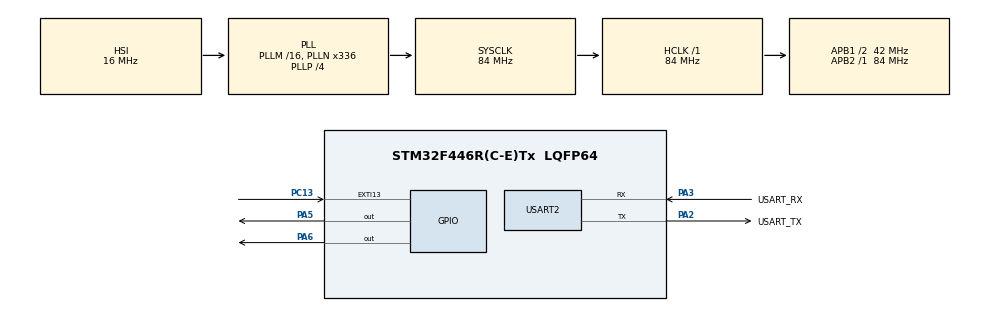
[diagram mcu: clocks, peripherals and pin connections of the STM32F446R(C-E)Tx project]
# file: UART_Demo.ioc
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Mcu.Family=STM32F4
Mcu.Name=STM32F446R(C-E)Tx
Mcu.Package=LQFP64
NUCLEO-F446RE.BUTTON=1
NUCLEO-F446RE.Bsp_Common_DEMO=true
NUCLEO-F446RE.LD1=true
NVIC.EXTI15_10_IRQn=true\:0\:0\:false\:false\:true\:false\:true\:true
NVIC.PriorityGroup=NVIC_PRIORITYGROUP_0
NVIC.USART2_IRQn=true\:0\:0\:false\:false\:true\:true\:true\:true
PA13.GPIO_Label=TMS
PA13.Signal=SYS_JTMS-SWDIO
PA14.GPIO_Label=TCK
PA14.Signal=SYS_JTCK-SWCLK
PA2.GPIO_Label=USART_TX
PA2.Mode=Asynchronous
PA2.Signal=USART2_TX
PA3.GPIO_Label=USART_RX
PA3.Mode=Asynchronous
PA3.Signal=USART2_RX
PA5.Signal=GPIO_Output
PA6.Signal=GPIO_Output
PB3.GPIO_Label=SWO
PB3.Signal=SYS_JTDO-SWO
PC13.Signal=GPXTI13
PC14-OSC32_IN.Signal=RCC_OSC32_IN
PC15-OSC32_OUT.Signal=RCC_OSC32_OUT
PH0-OSC_IN.Signal=RCC_OSC_IN
PH1-OSC_OUT.Signal=RCC_OSC_OUT
ProjectManager.HeapSize=0x200
ProjectManager.StackSize=0x400
ProjectManager.TargetToolchain=CMake
RCC.AHBFreq_Value=84000000
RCC.APB1CLKDivider=RCC_HCLK_DIV2
RCC.APB1Freq_Value=42000000
RCC.APB1TimFreq_Value=84000000
RCC.APB2Freq_Value=84000000
RCC.APB2TimFreq_Value=84000000
RCC.CortexFreq_Value=84000000
RCC.FLatency-AdvancedSettings=FLASH_LATENCY_2
RCC.HCLKFreq_Value=84000000
RCC.HSE_VALUE=8000000
RCC.HSI_VALUE=16000000
RCC.LSE_VALUE=32768
RCC.PLLN=336
RCC.PLLP=RCC_PLLP_DIV4
RCC.SYSCLKFreq_VALUE=84000000
RCC.SYSCLKSource=RCC_SYSCLKSOURCE_PLLCLK
RCC.USBFreq_Value=168000000
RCC.VCOOutputFreq_Value=336000000
USART2.VirtualMode=VM_ASYNC
VP_NUCLEO-F446RE_VS_BSP_COMMON.Mode=COMMON
board=NUCLEO-F446RE

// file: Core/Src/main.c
/* USER CODE BEGIN Header */
/**
  ******************************************************************************
  * @file           : main.c
  * @brief          : Main program body
  ******************************************************************************
  * @attention
  *
  * Copyright (c) 2026 STMicroelectronics.
  * All rights reserved.
  *
  * This software is licensed under terms that can be found in the LICENSE file
  * in the root directory of this software component.
  * If no LICENSE file comes with this software, it is provided AS-IS.
  *
  ******************************************************************************
  */
/* USER CODE END Header */
#include "main.h"

/* USER CODE BEGIN Includes */
#include <stdint.h>
#include <stdio.h>
#include <stdbool.h>
#include <string.h>
#include <sys/_intsup.h>
#include "stm32f446xx.h"
#include "stm32f4xx_hal_gpio.h"
#include "stm32f4xx_hal_uart.h"
#include "uart.h"

/* USER CODE END Includes */

/* Button state */
#define BUTTON_RELEASED                    0U
#define BUTTON_PRESSED                     1U

__IO uint32_t BspButtonState = BUTTON_RELEASED;
UART_HandleTypeDef huart2;

void SystemClock_Config(void);
static void MX_GPIO_Init(void);
static void MX_USART2_UART_Init(void);

/* USER CODE BEGIN 0 */
  #define COMMAND_SIZE 100
  static uint8_t received_byte;
  static char command_buffer[COMMAND_SIZE];
  static volatile uint8_t command_index = 0;
  static volatile bool command_ready = false;
/* USER CODE END 0 */

int main(void)
{

  /* MCU Configuration--------------------------------------------------------*/

  /* Reset of all peripherals, Initializes the Flash interface and the Systick. */
  HAL_Init();

  /* Configure the system clock */
  SystemClock_Config();

  /* Initialize all configured peripherals */
  MX_GPIO_Init();
  MX_USART2_UART_Init();
  /* USER CODE BEGIN 2 */
  //uart_t uart2;
  //uart_init(&uart2, &huart2, 1000); // Initialize UART
  char message[] = "UART ready\r\n";
  HAL_UART_Transmit(
      &huart2,
      (uint8_t *)message,
      sizeof(message) - 1,
      100
  );

  if (HAL_UART_Receive_IT(&huart2, &received_byte, 1) != HAL_OK)
  {
      Error_Handler();
  }
  /* USER CODE END 2 */

  /* Initialize leds */
  BSP_LED_Init(LED2);

  /* Initialize USER push-button, will be used to trigger an interrupt each time it's pressed.*/
  BSP_PB_Init(BUTTON_USER, BUTTON_MODE_EXTI);

  /* USER CODE BEGIN BSP */

  /* -- Sample board code to switch on leds ---- */
  BSP_LED_On(LED2);

  /* USER CODE END BSP */

  /* Infinite loop */
  while (1)
  {

    /* USER CODE BEGIN 3 */

    /*HAL_StatusTypeDef status;
    //status = uart_receive_byte(&uart2, &received_byte); // Receive a byte over UART
    if (status == HAL_OK) {
        if (received_byte == '0') { // Check if a byte was received
            HAL_GPIO_WritePin(GPIOA, GPIO_PIN_6, GPIO_PIN_RESET); // Turn off the LED if 0 was received
            uart_send_string(&uart2, "LED OFF\r\n"); // Send a message over UART
        }
        else if (received_byte == '1') { // Check if a byte was received
        HAL_GPIO_WritePin(GPIOA, GPIO_PIN_6, GPIO_PIN_SET); // Turn on the LED if 1 was received
        uart_send_string(&uart2, "LED ON\r\n"); // Send a message over UART
      }
    }
    else if (status == HAL_TIMEOUT)
    {
    // No data arrived. Do nothing.
    }
    else{
      uart_send_string(&uart2, "Error receiving byte\r\n"); // Send an error message over UART
    }*/

    if(command_ready){
      if(strcmp(command_buffer, "led on") == 0){
        HAL_GPIO_WritePin(GPIOA, GPIO_PIN_6, GPIO_PIN_SET);
      }
      else if(strcmp(command_buffer, "led off") == 0){
        HAL_GPIO_WritePin(GPIOA, GPIO_PIN_6, GPIO_PIN_RESET);
      }
      else if(strcmp(command_buffer, "status") == 0){
        GPIO_PinState state = HAL_GPIO_ReadPin(GPIOA, GPIO_PIN_6);
        if (state == GPIO_PIN_RESET){
          HAL_UART_Transmit(&huart2, (uint8_t*)"LED OFF\r\n", strlen("LED OFF"), 100);
        }
        else{
          HAL_UART_Transmit(&huart2, (uint8_t*)"LED ON\r\n", strlen("LED ON"), 100);
        }
      }
      else if(strcmp(command_buffer, "help") == 0){
        HAL_UART_Transmit(&huart2, (uint8_t*)"-LED ON\r\n", strlen("-LED ON"), 100);
        HAL_UART_Transmit(&huart2, (uint8_t*)"-LED OFF\r\n", strlen("-LED OFF"), 100);
        HAL_UART_Transmit(&huart2, (uint8_t*)"-STATUS\r\n", strlen("-STATUS"), 100);
      }

      command_index = 0;
      command_ready = false;
    }

  }

  /* USER CODE END 3 */
}

void SystemClock_Config(void)
{
  RCC_OscInitTypeDef RCC_OscInitStruct = {0};
  RCC_ClkInitTypeDef RCC_ClkInitStruct = {0};

  /** Configure the main internal regulator output voltage
  */
  __HAL_RCC_PWR_CLK_ENABLE();
  __HAL_PWR_VOLTAGESCALING_CONFIG(PWR_REGULATOR_VOLTAGE_SCALE3);

  /** Initializes the RCC Oscillators according to the specified parameters
  * in the RCC_OscInitTypeDef structure.
  */
  RCC_OscInitStruct.OscillatorType = RCC_OSCILLATORTYPE_HSI;
  RCC_OscInitStruct.HSIState = RCC_HSI_ON;
  RCC_OscInitStruct.HSICalibrationValue = RCC_HSICALIBRATION_DEFAULT;
  RCC_OscInitStruct.PLL.PLLState = RCC_PLL_ON;
  RCC_OscInitStruct.PLL.PLLSource = RCC_PLLSOURCE_HSI;
  RCC_OscInitStruct.PLL.PLLM = 16;
  RCC_OscInitStruct.PLL.PLLN = 336;
  RCC_OscInitStruct.PLL.PLLP = RCC_PLLP_DIV4;
  RCC_OscInitStruct.PLL.PLLQ = 2;
  RCC_OscInitStruct.PLL.PLLR = 2;
  if (HAL_RCC_OscConfig(&RCC_OscInitStruct) != HAL_OK)
  {
    Error_Handler();
  }

  /** Initializes the CPU, AHB and APB buses clocks
  */
  RCC_ClkInitStruct.ClockType = RCC_CLOCKTYPE_HCLK|RCC_CLOCKTYPE_SYSCLK
                              |RCC_CLOCKTYPE_PCLK1|RCC_CLOCKTYPE_PCLK2;
  RCC_ClkInitStruct.SYSCLKSource = RCC_SYSCLKSOURCE_PLLCLK;
  RCC_ClkInitStruct.AHBCLKDivider = RCC_SYSCLK_DIV1;
  RCC_ClkInitStruct.APB1CLKDivider = RCC_HCLK_DIV2;
  RCC_ClkInitStruct.APB2CLKDivider = RCC_HCLK_DIV1;

  if (HAL_RCC_ClockConfig(&RCC_ClkInitStruct, FLASH_LATENCY_2) != HAL_OK)
  {
    Error_Handler();
  }
}

static void MX_USART2_UART_Init(void)
{

  huart2.Instance = USART2;
  huart2.Init.BaudRate = 115200;
  huart2.Init.WordLength = UART_WORDLENGTH_8B;
  huart2.Init.StopBits = UART_STOPBITS_1;
  huart2.Init.Parity = UART_PARITY_NONE;
  huart2.Init.Mode = UART_MODE_TX_RX;
  huart2.Init.HwFlowCtl = UART_HWCONTROL_NONE;
  huart2.Init.OverSampling = UART_OVERSAMPLING_16;
  if (HAL_UART_Init(&huart2) != HAL_OK)
  {
    Error_Handler();
  }

}

static void MX_GPIO_Init(void)
{
  GPIO_InitTypeDef GPIO_InitStruct = {0};

  /* GPIO Ports Clock Enable */
  __HAL_RCC_GPIOC_CLK_ENABLE();
  __HAL_RCC_GPIOH_CLK_ENABLE();
  __HAL_RCC_GPIOA_CLK_ENABLE();
  __HAL_RCC_GPIOB_CLK_ENABLE();

  /*Configure GPIO pin Output Level */
  HAL_GPIO_WritePin(GPIOA, GPIO_PIN_6, GPIO_PIN_RESET);

  /*Configure GPIO pin : PA6 */
  GPIO_InitStruct.Pin = GPIO_PIN_6;
  GPIO_InitStruct.Mode = GPIO_MODE_OUTPUT_PP;
  GPIO_InitStruct.Pull = GPIO_NOPULL;
  GPIO_InitStruct.Speed = GPIO_SPEED_FREQ_LOW;
  HAL_GPIO_Init(GPIOA, &GPIO_InitStruct);

}

/* USER CODE BEGIN 4 */
void HAL_UART_RxCpltCallback(UART_HandleTypeDef *huart){

  if (huart->Instance == USART2){
    if (received_byte == '\r' || received_byte == '\n'){
      if(command_index > 0){
        command_buffer[command_index] = '\0';
        command_ready = true;
      }
    }
    else if (command_ready == false && command_index < COMMAND_SIZE - 1){
      command_buffer[command_index] = (char)received_byte;
      command_index++;
    }

  }
  HAL_UART_Receive_IT(huart, &received_byte, 1);
}
/* USER CODE END 4 */

/**
  * @brief EXTI line detection callbacks
  * @param GPIO_Pin: Specifies the pins connected EXTI line
  * @retval None
  */
void HAL_GPIO_EXTI_Callback(uint16_t GPIO_Pin)
{
  if(GPIO_Pin==USER_BUTTON_PIN)
  {
    BspButtonState = BUTTON_PRESSED;
  }
}

void Error_Handler(void)
{
  __disable_irq();
  while (1)
  {
  }
}
